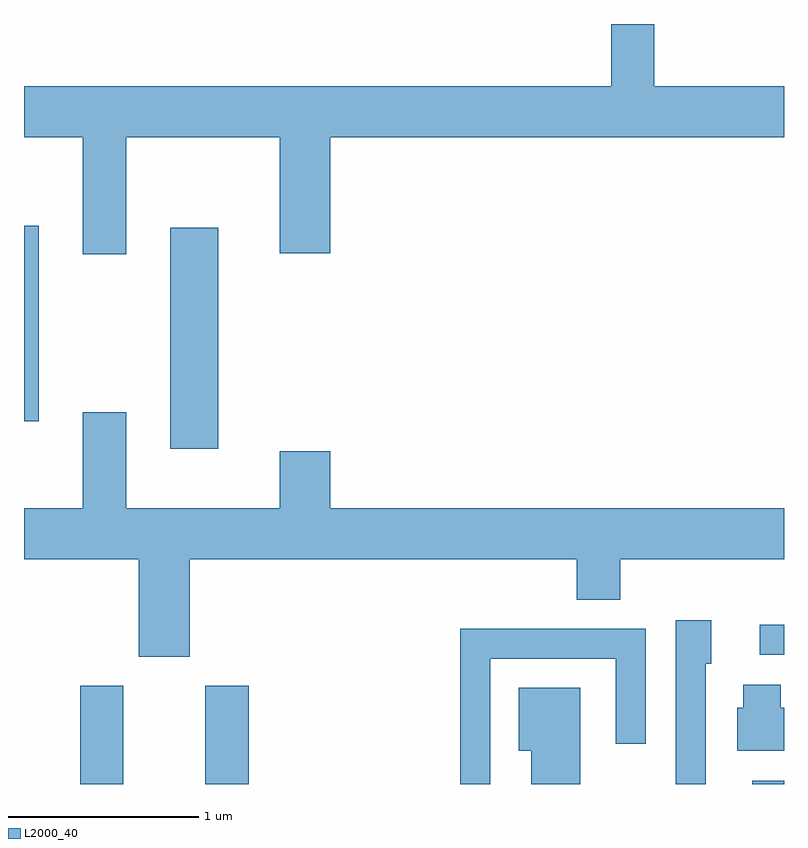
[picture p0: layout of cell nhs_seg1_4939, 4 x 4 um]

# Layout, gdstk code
import gdstk
lib = gdstk.Library(unit=1e-6, precision=1e-09)
def R(c, l, rs):  # rectangles x0, y0, x1, y1
    for r in rs: c.add(gdstk.rectangle(r[:2], r[2:], *l))
def P(c, l, *ps):  # polygons
    for p in ps: c.add(gdstk.Polygon(p, *l))
L2000_40 = (2000, 40)

nhs_seg1_4939 = lib.new_cell('nhs_seg1_4939')
R(nhs_seg1_4939, L2000_40, [(333.906,911.712,334.134,912.229), (334.566,911.712,334.794,912.229), (337.443,911.712,337.611,911.729), (337.483,912.391,337.611,912.549), (334.381,913.476,334.634,914.639), (333.611,913.621,333.689,914.649)])
P(nhs_seg1_4939, L2000_40, [(334.149,915.116),(334.956,915.116),(334.956,914.506),(335.224,914.506),(335.224,915.116),(337.611,915.116),(337.611,915.384),(336.929,915.384),(336.929,915.712),(336.701,915.712),(336.701,915.384),(333.611,915.384),(333.611,915.116),(333.921,915.116),(333.921,914.501),(334.149,914.501)],
  [(334.484,912.896),(336.521,912.896),(336.521,912.681),(336.749,912.681),(336.749,912.896),(337.611,912.896),(337.611,913.164),(335.224,913.164),(335.224,913.464),(334.956,913.464),(334.956,913.164),(334.149,913.164),(334.149,913.669),(333.921,913.669),(333.921,913.164),(333.611,913.164),(333.611,912.896),(334.216,912.896),(334.216,912.381),(334.484,912.381)],
  [(337.199,912.346),(337.229,912.346),(337.229,912.574),(337.041,912.574),(337.041,911.712),(337.199,911.712)],
  [(336.064,912.371),(336.726,912.371),(336.726,911.923),(336.884,911.923),(336.884,912.529),(335.906,912.529),(335.906,911.712),(336.064,911.712)],
  [(337.611,912.114),(337.594,912.114),(337.594,912.234),(337.396,912.234),(337.396,912.114),(337.366,912.114),(337.366,911.886),(337.611,911.886)],
  [(336.539,912.219),(336.216,912.219),(336.216,911.886),(336.281,911.886),(336.281,911.712),(336.539,911.712)])

lib.write_gds('nhs_seg1_4939.gds')
